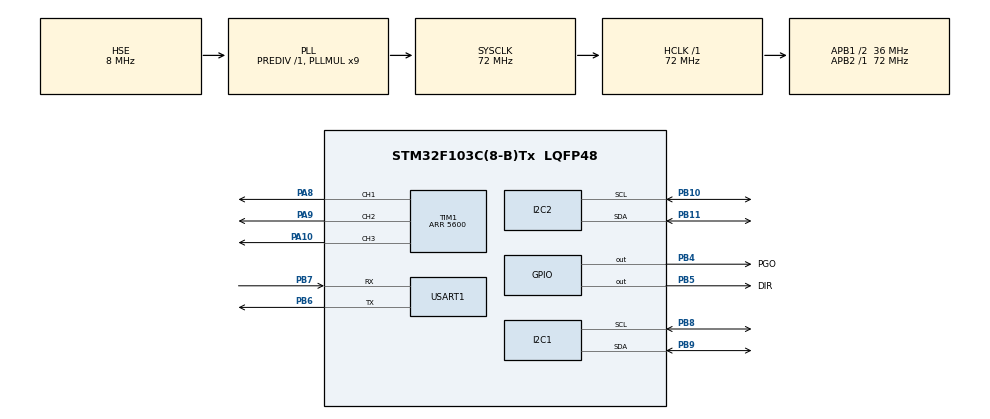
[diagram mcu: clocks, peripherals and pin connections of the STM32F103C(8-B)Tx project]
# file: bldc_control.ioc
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Mcu.Family=STM32F1
Mcu.Name=STM32F103C(8-B)Tx
Mcu.Package=LQFP48
NVIC.PriorityGroup=NVIC_PRIORITYGROUP_4
NVIC.TIM2_IRQn=true\:0\:0\:false\:false\:true\:true\:true
NVIC.USART1_IRQn=true\:0\:0\:false\:false\:true\:true\:true
PA10.Signal=S_TIM1_CH3
PA13.Mode=Serial_Wire
PA13.Signal=SYS_JTMS-SWDIO
PA14.Mode=Serial_Wire
PA14.Signal=SYS_JTCK-SWCLK
PA8.Signal=S_TIM1_CH1
PA9.Signal=S_TIM1_CH2
PB10.Mode=I2C
PB10.Signal=I2C2_SCL
PB11.Mode=I2C
PB11.Signal=I2C2_SDA
PB4.GPIO_Label=PGO
PB4.GPIO_PuPd=GPIO_NOPULL
PB4.GPIO_Speed=GPIO_SPEED_FREQ_HIGH
PB4.Signal=GPIO_Output
PB5.GPIO_Label=DIR
PB5.GPIO_Speed=GPIO_SPEED_FREQ_HIGH
PB5.Signal=GPIO_Output
PB6.Mode=Asynchronous
PB6.Signal=USART1_TX
PB7.Mode=Asynchronous
PB7.Signal=USART1_RX
PB8.Mode=I2C
PB8.Signal=I2C1_SCL
PB9.Mode=I2C
PB9.Signal=I2C1_SDA
PD0-OSC_IN.Mode=HSE-External-Oscillator
PD0-OSC_IN.Signal=RCC_OSC_IN
PD1-OSC_OUT.Mode=HSE-External-Oscillator
PD1-OSC_OUT.Signal=RCC_OSC_OUT
ProjectManager.HeapSize=0x400
ProjectManager.StackSize=0x800
ProjectManager.TargetToolchain=MDK-ARM V5.32
RCC.AHBFreq_Value=72000000
RCC.APB1CLKDivider=RCC_HCLK_DIV2
RCC.APB1Freq_Value=36000000
RCC.APB1TimFreq_Value=72000000
RCC.APB2Freq_Value=72000000
RCC.APB2TimFreq_Value=72000000
RCC.HCLKFreq_Value=72000000
RCC.PLLMUL=RCC_PLL_MUL9
RCC.PLLSourceVirtual=RCC_PLLSOURCE_HSE
RCC.SYSCLKFreq_VALUE=72000000
RCC.SYSCLKSource=RCC_SYSCLKSOURCE_PLLCLK
RCC.USBFreq_Value=48000000
RCC.USBPrescaler=RCC_USBCLKSOURCE_PLL_DIV1_5
SH.S_TIM1_CH1.0=TIM1_CH1,PWM Generation1 CH1
SH.S_TIM1_CH2.0=TIM1_CH2,PWM Generation2 CH2
SH.S_TIM1_CH3.0=TIM1_CH3,PWM Generation3 CH3
TIM1.Channel-PWM\ Generation1\ CH1=TIM_CHANNEL_1
TIM1.Channel-PWM\ Generation2\ CH2=TIM_CHANNEL_2
TIM1.Channel-PWM\ Generation3\ CH3=TIM_CHANNEL_3
TIM1.CounterMode=TIM_COUNTERMODE_CENTERALIGNED1
TIM1.Period=5600
TIM1.RepetitionCounter=1
TIM1.TIM_MasterOutputTrigger=TIM_TRGO_OC4REF
TIM1.TIM_MasterSlaveMode=TIM_MASTERSLAVEMODE_DISABLE
TIM2.Period=1000-1
TIM2.Prescaler=72-1
USART1.VirtualMode=VM_ASYNC
VP_TIM1_VS_ClockSourceINT.Mode=Internal
VP_TIM2_VS_ClockSourceINT.Mode=Internal
board=custom

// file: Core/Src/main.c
/* USER CODE BEGIN Header */
/**
  ******************************************************************************
  * @file           : main.c
  * @brief          : Main program body
  ******************************************************************************
  * @attention
  *
  * Copyright (c) 2025 STMicroelectronics.
  * All rights reserved.
  *
  * This software is licensed under terms that can be found in the LICENSE file
  * in the root directory of this software component.
  * If no LICENSE file comes with this software, it is provided AS-IS.
  *
  ******************************************************************************
  */
/* USER CODE END Header */
#include "main.h"
#include "i2c.h"
#include "tim.h"
#include "usart.h"
#include "gpio.h"

/* USER CODE BEGIN Includes */
#include "log.h"
#include "foc.h"
#include "foc_hal.h"
#include "foc_test.h"
#include "lowpass_filter.h"
#include "math.h"
#include "pid.h"
/* USER CODE END Includes */

/* USER CODE BEGIN PV */
bool focAReady = false;
/* USER CODE END PV */

void SystemClock_Config(void);

int main(void)
{

  /* MCU Configuration--------------------------------------------------------*/

  /* Reset of all peripherals, Initializes the Flash interface and the Systick. */
  HAL_Init();

  /* Configure the system clock */
  SystemClock_Config();

  /* Initialize all configured peripherals */
  MX_GPIO_Init();
  MX_TIM1_Init();
  MX_TIM2_Init();
  MX_I2C1_Init();
  MX_I2C2_Init();
  MX_USART1_UART_Init();
  /* USER CODE BEGIN 2 */
  HAL_Delay(300);
  HAL_TIM_PWM_Start(&htim1, TIM_CHANNEL_1);
  HAL_TIM_PWM_Start(&htim1, TIM_CHANNEL_2);
  HAL_TIM_PWM_Start(&htim1, TIM_CHANNEL_3);

  CAW_LOG_Init(&huart1, LEVEL_DEBUG, true);
  CAW_LOG_DEBUG("CAW FOC");
  /* USER CODE END 2 */

  /* Infinite loop */
  /* USER CODE BEGIN WHILE */
  FOC_T foc;
  PID_T velPID;
  PID_T anglePID;
  LOWPASS_FILTER_T velFilter;

  FOC_Closeloop_Init(&foc, &htim1, PWM_PERIOD, 12.6, 1, 7);
  FOC_SetVoltageLimit(&foc, 12.0);
  FOC_HAL_InitA(&foc, &hi2c1);

  PID_Init(&velPID, 2, 0, 0, 100000, foc.voltage_power_supply / 2);
  PID_Init(&anglePID, 2, 0, 0, 100000, 100);
  LOWPASS_FILTER_Init(&velFilter, 0.01);

  FOC_AlignmentSensor(&foc);
  focAReady = true;
  while (!focAReady) HAL_Delay(10);

  while (1)
  {
    /* USER CODE END WHILE */

    /* USER CODE BEGIN 3 */
    // 闭环位置控制
    // Foc_TestCloseloopAngle(&foc1, &anglePID1, 3.141592654);
    // 闭环速度控制
    Foc_TestCloseloopVelocity(&foc, &velFilter, &velPID, 10);
    FOC_SensorUpdate(&foc);
    HAL_Delay(1);

  }
  /* USER CODE END 3 */
}

void SystemClock_Config(void)
{
  RCC_OscInitTypeDef RCC_OscInitStruct = {0};
  RCC_ClkInitTypeDef RCC_ClkInitStruct = {0};

  /** Initializes the RCC Oscillators according to the specified parameters
  * in the RCC_OscInitTypeDef structure.
  */
  RCC_OscInitStruct.OscillatorType = RCC_OSCILLATORTYPE_HSE;
  RCC_OscInitStruct.HSEState = RCC_HSE_ON;
  RCC_OscInitStruct.HSEPredivValue = RCC_HSE_PREDIV_DIV1;
  RCC_OscInitStruct.HSIState = RCC_HSI_ON;
  RCC_OscInitStruct.PLL.PLLState = RCC_PLL_ON;
  RCC_OscInitStruct.PLL.PLLSource = RCC_PLLSOURCE_HSE;
  RCC_OscInitStruct.PLL.PLLMUL = RCC_PLL_MUL9;
  if (HAL_RCC_OscConfig(&RCC_OscInitStruct) != HAL_OK)
  {
    Error_Handler();
  }
  /** Initializes the CPU, AHB and APB buses clocks
  */
  RCC_ClkInitStruct.ClockType = RCC_CLOCKTYPE_HCLK|RCC_CLOCKTYPE_SYSCLK
                              |RCC_CLOCKTYPE_PCLK1|RCC_CLOCKTYPE_PCLK2;
  RCC_ClkInitStruct.SYSCLKSource = RCC_SYSCLKSOURCE_PLLCLK;
  RCC_ClkInitStruct.AHBCLKDivider = RCC_SYSCLK_DIV1;
  RCC_ClkInitStruct.APB1CLKDivider = RCC_HCLK_DIV2;
  RCC_ClkInitStruct.APB2CLKDivider = RCC_HCLK_DIV1;

  if (HAL_RCC_ClockConfig(&RCC_ClkInitStruct, FLASH_LATENCY_2) != HAL_OK)
  {
    Error_Handler();
  }
}

void Error_Handler(void)
{
  __disable_irq();
  while (1)
  {
  }
}
